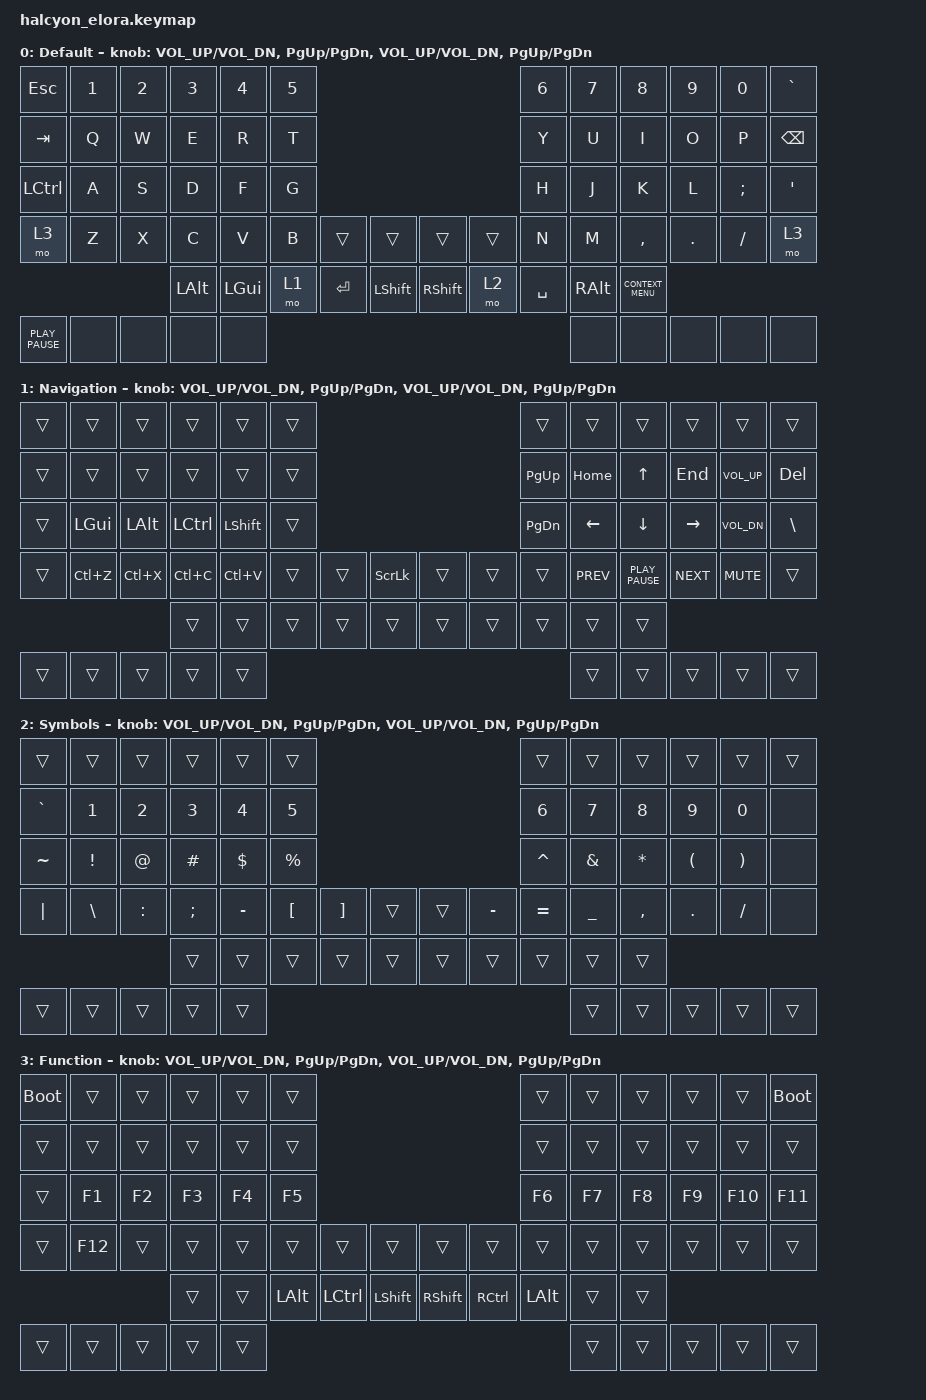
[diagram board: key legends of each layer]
/*
 * Copyright (c) 2023 The ZMK Contributors
 * Copyright (c) 2026 Splitkb.com
 *
 * SPDX-License-Identifier: MIT
 */

#include <behaviors.dtsi>
#include <dt-bindings/zmk/keys.h>

#define DEFAULT  0
#define NAV      1
#define SYM      2
#define FUNCTION 3
#define ADJUST   4

/ {
    keymap {
        compatible = "zmk,keymap";

        qwerty_layer {
            display-name = "Default";

            // ---------------------------------------------------------------------------------------------------------------
            // |  ESC  |  1   |  2  |  3  |  4  |   5   |                               |  6  |  7  |  8  |  9  |  0  | BSPC |
            // |  TAB  |  Q   |  W  |  E  |  R  |   T   |                               |  Y  |  U  |  I  |  O  |  P  | BSPC |
            // |LC(ESC)|  A   |  S  |  D  |  F  |   G   |                               |  H  |  J  |  K  |  L  |  ;  |  '   |
            // |  SHFT |  Z   |  X  |  C  |  V  |   B   | LBKT | CAPS |   | FUNC | RBKT |  N  |  M  |  ,  |  .  |  /  | SHFT |
            //                      | ADJ | GUI |LA(ENT)| SPC  | NAV  |   | SYM  | SPC  | ALT | GUI | APP |

            bindings = <
&kp ESC           &kp N1  &kp N2  &kp N3        &kp N4    &kp N5                                                    &kp N6     &kp N7         &kp N8              &kp N9   &kp N0    &kp GRAVE
&kp TAB           &kp Q   &kp W   &kp E         &kp R     &kp T                                                     &kp Y      &kp U          &kp I               &kp O    &kp P     &kp BSPC
&kp LCTRL         &kp A   &kp S   &kp D         &kp F     &kp G                                                     &kp H      &kp J          &kp K               &kp L    &kp SEMI  &kp SQT
&mo 3             &kp Z   &kp X   &kp C         &kp V     &kp B   &trans   &trans          &trans           &trans  &kp N      &kp M          &kp COMMA           &kp DOT  &kp FSLH  &mo 3
                                  &kp LEFT_ALT  &kp LGUI  &mo 1   &kp RET  &kp LEFT_SHIFT  &kp RIGHT_SHIFT  &mo 2   &kp SPACE  &kp RIGHT_ALT  &kp K_CONTEXT_MENU
&kp K_PLAY_PAUSE  &none   &none   &none         &none                                                                          &none          &none               &none    &none     &none
            >;

            sensor-bindings = <&inc_dec_kp C_VOL_UP C_VOL_DN &inc_dec_kp PG_UP PG_DN &inc_dec_kp C_VOL_UP C_VOL_DN &inc_dec_kp PG_UP PG_DN>;
        };

        // Uncomment one of the following layers, and comment the Qwerty layer, if you want to use Colemak or Dvorak layouts
        // dvorak_layer {
        //     display-name = "Default Layer";
        //     bindings = <
        //     &kp ESC       &kp N1   &kp N2    &kp N3     &kp N4   &kp N5                                                 &kp N6   &kp N7  &kp N8 &kp N9 &kp N0 &kp ESC
        //     &kp TAB       &kp SQT  &kp COMMA &kp DOT    &kp P    &kp Y                                                  &kp F    &kp G    &kp C &kp R &kp L &kp BSPC
        //     &mt LCTRL ESC &kp A    &kp O     &kp E      &kp U    &kp I                                                  &kp D    &kp H    &kp T &kp N &kp S &mt RCTRL SQT
        //     &kp LSHFT     &kp SEMI &kp Q     &kp J      &kp K    &kp X        &kp LBKT  &kp CAPS &mo FUNCTION &kp RBKT  &kp B    &kp M    &kp W &kp V &kp Z &kp RSHFT
        //                                      &mo ADJUST &kp LGUI &mt LALT RET &kp SPACE &mo NAV  &mo SYM      &kp SPACE &kp RALT &kp RGUI &kp K_APP
        //
        //     &kp RGUI &none &none &none &none                                                                                          &none &none &none &none &kp RGUI
        //     >;
        //
        //     sensor-bindings = <&inc_dec_kp C_VOL_UP C_VOL_DN &inc_dec_kp PG_UP PG_DN &inc_dec_kp C_VOL_UP C_VOL_DN &inc_dec_kp PG_UP PG_DN>;
        // };
        // colemak_dh_layer {
        //     display-name = "Default Layer";
        //     bindings = <
        //     &kp ESC       &kp N1 &kp N2 &kp N3   &kp N4   &kp N5                                                 &kp N6   &kp N7   &kp N8    &kp N9  &kp N0   &kp ESC
        //     &kp TAB       &kp Q &kp W &kp F      &kp P    &kp B                                                  &kp J    &kp L    &kp U     &kp Y   &kp SEMI &kp BSPC
        //     &mt LCTRL ESC &kp A &kp R &kp S      &kp T    &kp G                                                  &kp M    &kp N    &kp E     &kp I   &kp O    &mt RCTRL SQT
        //     &kp LSHFT     &kp Z &kp X &kp C      &kp D    &kp V        &kp LBKT  &kp CAPS &mo FUNCTION &kp RBKT  &kp K    &kp H    &kp COMMA &kp DOT &kp FSLH &kp RSHFT
        //                               &mo ADJUST &kp LGUI &mt LALT RET &kp SPACE &mo NAV  &mo SYM      &kp SPACE &kp RALT &kp RGUI &kp K_APP
        //
        //     &kp RGUI &none &none &none &none                                                                                          &none &none &none &none &kp RGUI
        //     >;
        //
        //     sensor-bindings = <&inc_dec_kp C_VOL_UP C_VOL_DN &inc_dec_kp PG_UP PG_DN &inc_dec_kp C_VOL_UP C_VOL_DN &inc_dec_kp PG_UP PG_DN>;
        // };

        navigation_layer {
            display-name = "Navigation";

            // ------------------------------------------------------------------------------------------------------------
            // |     |     |     |     |     |STDIO|                            |       |      |     |     |       |      |
            // |     |     |     |     |     |     |                            | PG_UP | HOME | UP  | END | VOL_UP| DEL  |
            // |     | GUI | ALT | CTL | SHFT|     |                            | PG_DN | LEFT | DOWN| RGT | VOL_DN| INS  |
            // |     |     |     |     |     |     |     | SLCK |   |     |     | PAUSE | PREV | PLAY| NEXT| MUTE  | PSCRN|
            //                   |     |     |     |     |      |   |     |     |       |      |     |

            bindings = <
&trans  &trans     &trans     &trans     &trans     &trans                                    &trans     &trans      &trans            &trans      &trans        &trans
&trans  &trans     &trans     &trans     &trans     &trans                                    &kp PG_UP  &kp HOME    &kp UP            &kp END     &kp K_VOL_UP  &kp DEL
&trans  &kp LGUI   &kp LALT   &kp LCTRL  &kp LSHFT  &trans                                    &kp PG_DN  &kp LEFT    &kp DOWN          &kp RIGHT   &kp K_VOL_DN  &kp BACKSLASH
&trans  &kp LC(Z)  &kp LC(X)  &kp LC(C)  &kp LC(V)  &trans  &trans  &kp SLCK  &trans  &trans  &trans     &kp K_PREV  &kp K_PLAY_PAUSE  &kp K_NEXT  &kp K_MUTE    &trans
                              &trans     &trans     &trans  &trans  &trans    &trans  &trans  &trans     &trans      &trans
&trans  &trans     &trans     &trans     &trans                                                          &trans      &trans            &trans      &trans        &trans
            >;

            sensor-bindings = <&inc_dec_kp C_VOL_UP C_VOL_DN &inc_dec_kp PG_UP PG_DN &inc_dec_kp C_VOL_UP C_VOL_DN &inc_dec_kp PG_UP PG_DN>;
        };

        symbol_layer {
            display-name = "Symbols";

            // -----------------------------------------------------------------------------------------------------
            // |     |     |     |     |     |     |                           |     |     |     |     |     |     |
            // |  `  |  1  |  2  |  3  |  4  |  5  |                           |  6  |  7  |  8  |  9  |  0  |  =  |
            // |  ~  |  !  |  @  |  #  |  $  |  %  |                           |  ^  |  &  |  *  |  (  |  )  |  +  |
            // | "|" |  \  |  :  |  ;  |  -  |  [  |  {  |     |   |     |  }  |  ]  |  _  |  ,  |  .  |  /  |  ?  |
            //                   |     |     |     |     |     |   |     |     |     |     |     |

            bindings = <
&trans     &trans    &trans     &trans    &trans     &trans                                                   &trans     &trans     &trans     &trans    &trans    &trans
&kp GRAVE  &kp N1    &kp N2     &kp N3    &kp N4     &kp N5                                                   &kp N6     &kp N7     &kp N8     &kp N9    &kp N0    &none
&kp TILDE  &kp EXCL  &kp AT     &kp HASH  &kp DLLR   &kp PRCNT                                                &kp CARET  &kp AMPS   &kp STAR   &kp LPAR  &kp RPAR  &none
&kp PIPE   &kp BSLH  &kp COLON  &kp SEMI  &kp MINUS  &kp LBKT   &kp RIGHT_BRACKET  &trans  &trans  &kp MINUS  &kp EQUAL  &kp UNDER  &kp COMMA  &kp DOT   &kp FSLH  &none
                                &trans    &trans     &trans     &trans             &trans  &trans  &trans     &trans     &trans     &trans
&trans     &trans    &trans     &trans    &trans                                                                         &trans     &trans     &trans    &trans    &trans
            >;

            sensor-bindings = <&inc_dec_kp C_VOL_UP C_VOL_DN &inc_dec_kp PG_UP PG_DN &inc_dec_kp C_VOL_UP C_VOL_DN &inc_dec_kp PG_UP PG_DN>;
        };

        function_layer {
            display-name = "Function";

            // -----------------------------------------------------------------------------------------------------
            // |     |     |     |     |     |     |                           |     |     |     |     |     |     |
            // |     | F9  | F10 | F11 | F12 |     |                           |     |     |     |     |     |     |
            // |     | F5  | F6  | F7  | F8  |     |                           |     |RSHFT|RCTRL| LALT| RGUI|     |
            // |     | F1  | F2  | F3  | F4  |     |     |     |   |     |     |     |     |     |     |     |     |
            //                   |     |     |     |     |     |   |     |     |     |     |     |

            bindings = <
&bootloader  &trans   &trans  &trans  &trans  &trans                                                               &trans        &trans  &trans  &trans  &trans   &bootloader
&trans       &trans   &trans  &trans  &trans  &trans                                                               &trans        &trans  &trans  &trans  &trans   &trans
&trans       &kp F1   &kp F2  &kp F3  &kp F4  &kp F5                                                               &kp F6        &kp F7  &kp F8  &kp F9  &kp F10  &kp F11
&trans       &kp F12  &trans  &trans  &trans  &trans        &trans     &trans          &trans           &trans     &trans        &trans  &trans  &trans  &trans   &trans
                              &trans  &trans  &kp LEFT_ALT  &kp LCTRL  &kp LEFT_SHIFT  &kp RIGHT_SHIFT  &kp RCTRL  &kp LEFT_ALT  &trans  &trans
&trans       &trans   &trans  &trans  &trans                                                                                     &trans  &trans  &trans  &trans   &trans
            >;

            sensor-bindings = <&inc_dec_kp C_VOL_UP C_VOL_DN &inc_dec_kp PG_UP PG_DN &inc_dec_kp C_VOL_UP C_VOL_DN &inc_dec_kp PG_UP PG_DN>;
        };
    };
};
